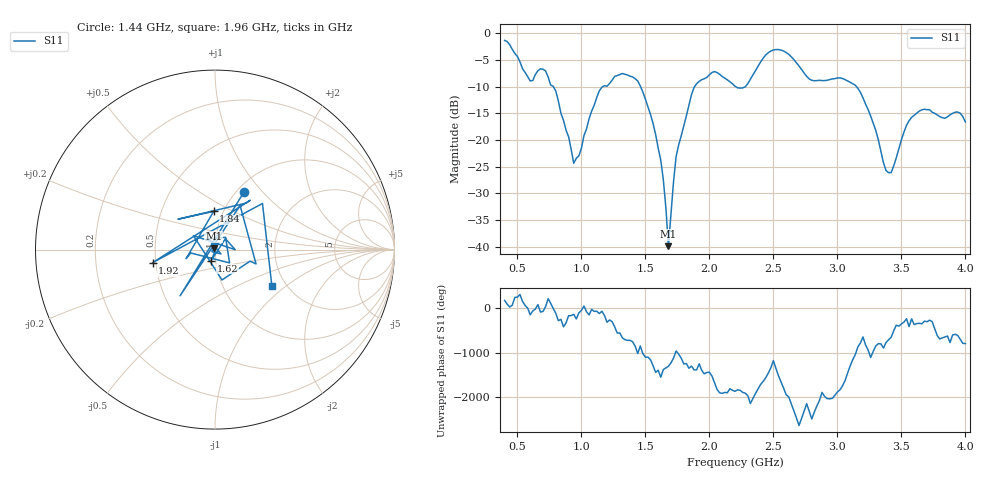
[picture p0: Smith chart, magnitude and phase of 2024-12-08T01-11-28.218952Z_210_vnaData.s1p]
!Created with skrf (http://scikit-rf.org).
# Hz S RI R 50.0
!freq ReS11 ImS11
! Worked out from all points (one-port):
!   181 points, 400 MHz to 4 GHz, reference 50 ohm
!   lowest |S11| = -39.9 dB at 1.68 GHz (marker M1), VSWR 1.02, Z = 49.3 + j0.689 ohm
!   |S11| at or under -10 dB: 781.8 MHz to 1.165 GHz (383.5 MHz wide, 39.4 % of centre); 1.463 GHz to 1.883 GHz (420.6 MHz wide, 25.1 % of centre); 3.15 GHz to end of sweep (the widest 3 of 4)
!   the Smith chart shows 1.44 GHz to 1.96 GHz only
!   S11 on the Smith chart (normalised r, x): 1.44 GHz: 1.08, +0.79; 1.62 GHz: 0.95, -0.12; 1.84 GHz: 0.90, +0.40; 1.92 GHz: 0.48, -0.08; 1.96 GHz: 1.69, -0.80
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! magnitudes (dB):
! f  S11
! 400 MHz  -1.3
! 600 MHz  -8.9
! 720 MHz  -7.0
! 860 MHz  -16.3
! 940 MHz  -24.3
! 1.14 GHz  -10.7
! 1.3 GHz  -7.7
! 1.44 GHz  -8.9
! 1.54 GHz  -15.2
! 1.62 GHz  -23.8
! 1.66 GHz  -32.7
! 1.68 GHz  -39.9
! 1.72 GHz  -27.7
! 1.76 GHz  -20.9
! 1.84 GHz  -13.4
! 1.92 GHz  -9.0
! 1.96 GHz  -8.5
! 2.2 GHz  -9.9
! 2.28 GHz  -10.0
! 2.48 GHz  -3.3
! 2.66 GHz  -4.9
! 2.8 GHz  -8.8
! 3.1 GHz  -9.2
! 3.24 GHz  -14.3
! 3.4 GHz  -26.1
! 3.56 GHz  -16.4
! 3.68 GHz  -14.2
! 4 GHz  -16.6
